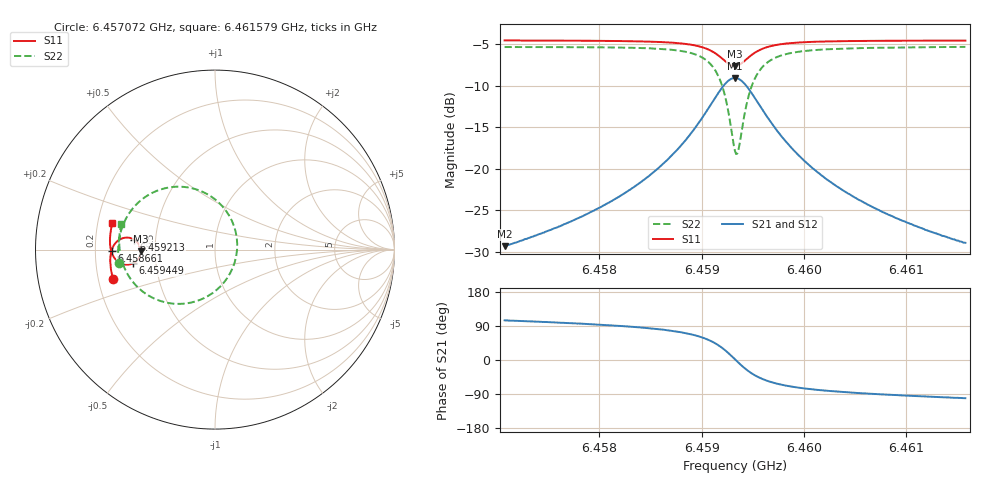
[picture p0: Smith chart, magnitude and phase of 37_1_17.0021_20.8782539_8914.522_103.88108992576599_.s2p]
#  HZ  S  RI  R  50.00
! Rohde & Schwarz Vector Network Analyzer
! Rohde-Schwarz,ZNB20-2Port,1311601062101988,3.16
! Created: UTC 3/20/2024, 10:53:44 PM
! freq[Hz]  re:S11  im:S11  re:S21  im:S21  re:S12  im:S12  re:S22  im:S22
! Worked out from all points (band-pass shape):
!   401 points, 6.457072 GHz to 6.461579 GHz, reference 50 ohm
!   highest |S21| = -9.06 dB at 6.459325 GHz (marker M1); lowest = -29.3 dB at 6.457072 GHz (marker M2)
!   |S21| within 3 dB of the highest: 6.459099 GHz to 6.45955 GHz (450.7 kHz wide, 0.00698 % of centre)
!   lowest |S11| = -7.7 dB at 6.459325 GHz (marker M3), VSWR 2.41, Z = 20.7 - j0.469 ohm
!   |S11| at or under -10 dB: nowhere
!   |S22| runs from -18.2 to -5.3 dB; largest |S21 - S12| = 0.014
!   S11 on the Smith chart (normalised r, x): 6.457072 GHz: 0.26, -0.13; 6.458661 GHz: 0.27, -0.00; 6.459213 GHz: 0.38, +0.05; 6.459449 GHz: 0.37, -0.07; 6.461579 GHz: 0.26, +0.12
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6.4570724e9  -0.568 -0.1662  -0.00866 0.0332  -0.00684 0.0332  -0.535 -0.0754
6.4578271e9  -0.5812 -0.0998  -0.00507 0.0514  -0.00245 0.0508  -0.5387 0.0142
6.4582214e9  -0.5837 -0.06  0.000586 0.07  0.00376 0.0685  -0.5305 0.0774
6.4585819e9  -0.5794 -0.0167  0.0155 0.1006  0.0194 0.0977  -0.5027 0.1594
6.4586608e9  -0.5765 -0.00555  0.0219 0.1107  0.0262 0.1073  -0.4902 0.1831
6.4588523e9  -0.5627 0.0253  0.0507 0.1427  0.0548 0.1375  -0.4362 0.2536
6.4589875e9  -0.5405 0.0497  0.0948 0.1712  0.098 0.1645  -0.3548 0.3135
6.4591227e9  -0.4956 0.0668  0.184 0.1873  0.185 0.18  -0.1917 0.3503
6.4592128e9  -0.4502 0.0557  0.2755 0.1544  0.2759 0.1484  -0.0224 0.2963
6.4592804e9  -0.4208 0.0224  0.3364 0.0802  0.3387 0.0749  0.0933 0.1622
6.4593255e9  -0.4141 -0.00938  0.3521 0.0106  0.3562 0.00353  0.1237 0.0319
6.4593593e9  -0.4184 -0.0336  0.3456 -0.0426  0.3495 -0.052  0.1103 -0.0693
6.4594043e9  -0.4345 -0.0601  0.3157 -0.1032  0.3179 -0.1155  0.0495 -0.1835
6.4594494e9  -0.4571 -0.0767  0.2725 -0.1444  0.2716 -0.1579  -0.0382 -0.2581
6.4595395e9  -0.5014 -0.0836  0.1859 -0.1748  0.1796 -0.1867  -0.2104 -0.3023
6.4596071e9  -0.5259 -0.0761  0.1368 -0.1726  0.1287 -0.1816  -0.3048 -0.286
6.459686e9  -0.5459 -0.0629  0.0968 -0.1602  0.0881 -0.1664  -0.3797 -0.2501
6.4598437e9  -0.5676 -0.0351  0.0515 -0.1313  0.0437 -0.1341  -0.4604 -0.1763
6.4600803e9  -0.5806 0.000302  0.0222 -0.099  0.0162 -0.0996  -0.5084 -0.0928
6.460407e9  -0.5851 0.0398  0.00648 -0.0723  0.00225 -0.0719  -0.5292 -0.0153
6.460835e9  -0.5834 0.0834  -0.00149 -0.0527  -0.00448 -0.0519  -0.5335 0.055
6.4615786e9  -0.5717 0.1495  -0.00669 -0.0353  -0.00837 -0.0343  -0.5219 0.1439
